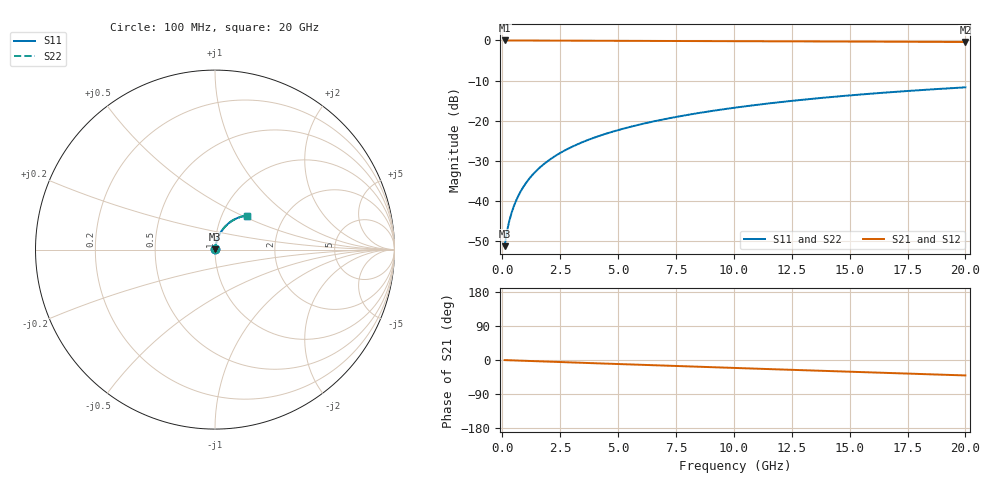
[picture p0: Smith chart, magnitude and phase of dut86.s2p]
! Touchstone file exported from HFSS 2026.1.0
!  File:  C:/ffzhzh/LocalFiles/Ansys_Project_Files/temp_train_BSMRDL_86_1782883130_8056.aedt
!  Generated:  01:20:11 PM Jul  1, 2026
!  Design:  BSMRDL
!  Project:  temp_train_BSMRDL_86_1782883130_8056
! Variables:
!  h_bsmrdl = 5.54um
!  h_ox = 20um
!  h_rdl = 5um
!  h_sub = 80um
!  h_tmrdl = 5um
!  h_tsv = 80um
!  h_via = 3um
!  l_bsmrdl = 664.98um
!  l_sub = 1064.98um
!  l_tmrdl = 200um
!  m_sub = 200um
!  pitch = 40.64um
!  r_tsv = 6um
!  s_tmrdl = 10um
!  w_bsmrdl = 23.76um
!  w_sub = 500um
!  w_tmrdl = 12um
!  x_tsv_center1 = 206um
!  x_tsv_center2 = 894.74um
!  x_tsv_center3 = 1106.74um
!  x_tsv_center4 = 1795.48um
!  x_tsv_center5 = 2007.48um
!  x_tsv_center6 = 2696.22um
# GHz S MA R 50.000000
! Terminal data exported
! Port[1] = BSM_RDL1_1_T1
! Port[2] = BSM_RDL1_1_T2
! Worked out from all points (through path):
!   200 points, 100 MHz to 20 GHz, reference 50 ohm
!   highest |S21| = -0.02 dB at 100 MHz (marker M1); lowest = -0.4 dB at 20 GHz (marker M2)
!   group delay of S21, straight-line fit = 5.65 ps
!   lowest |S11| = -51.3 dB at 100 MHz (marker M3), VSWR 1.01, Z = 50.2 + j0.185 ohm
!   |S11| at or under -10 dB: start of sweep to end of sweep
!   |S22| runs from -51.3 to -11.7 dB; largest |S21 - S12| = 2e-15
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0.1  0.002726 42.5  0.998 -0.2  0.998 -0.2  0.002726 42.5
! Gamma 0 0 0 0
! Port Impedance 50 0 50 0
0.2  0.004142 57.6  0.9978 -0.5  0.9978 -0.5  0.004142 57.6
0.3  0.005598 64.9  0.9977 -0.7  0.9977 -0.7  0.005598 64.9
0.4  0.007082 69.3  0.9976 -0.9  0.9976 -0.9  0.007082 69.3
0.5  0.008594 72.2  0.9975 -1.1  0.9975 -1.1  0.008594 72.2
0.6  0.01013 74.3  0.9974 -1.3  0.9974 -1.3  0.01013 74.3
0.8  0.01323 76.8  0.9973 -1.7  0.9973 -1.7  0.01323 76.8
1.1  0.01792 78.6  0.997 -2.4  0.997 -2.4  0.01792 78.6
1.3  0.02104 79.2  0.9969 -2.8  0.9969 -2.8  0.02104 79.2
1.5  0.02416 79.4  0.9966 -3.3  0.9966 -3.3  0.02416 79.4
1.8  0.02882 79.5  0.9963 -3.9  0.9963 -3.9  0.02882 79.5
2.1  0.03344 79.4  0.9959 -4.5  0.9959 -4.5  0.03344 79.3
2.7  0.04256 78.7  0.995 -5.8  0.995 -5.8  0.04256 78.7
3.5  0.05448 77.4  0.9937 -7.5  0.9937 -7.5  0.05447 77.4
4.2  0.0647 76.3  0.9925 -9.0  0.9925 -9.0  0.0647 76.2
5  0.07621 74.8  0.9911 -10.6  0.9911 -10.6  0.0762 74.8
6.8  0.1015 71.6  0.9877 -14.4  0.9877 -14.4  0.1015 71.6
8.3  0.122 68.9  0.9846 -17.4  0.9846 -17.4  0.122 68.8
10.1  0.1458 65.5  0.9806 -21.1  0.9806 -21.1  0.1458 65.5
13.4  0.1873 59.3  0.9725 -27.8  0.9725 -27.8  0.1873 59.2
16.7  0.2254 53.0  0.9635 -34.3  0.9635 -34.3  0.2254 53.0
20  0.2599 46.9  0.9542 -40.7  0.9542 -40.7  0.2599 46.8
